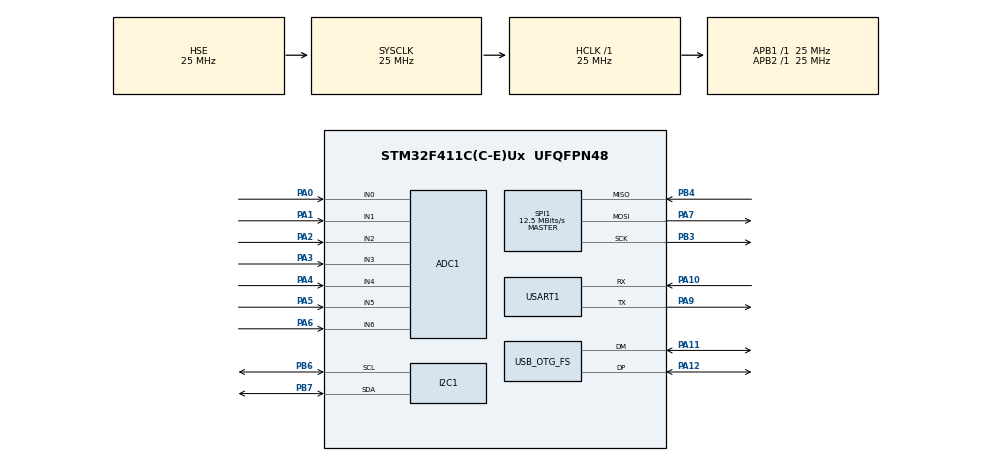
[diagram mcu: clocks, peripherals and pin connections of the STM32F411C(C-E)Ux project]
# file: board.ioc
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Mcu.Family=STM32F4
RCC.CortexFreq_Value=25000000
ADC1.Rank-0\#ChannelRegularConversion=1
PA7.Mode=Full_Duplex_Master
PA10.Mode=Asynchronous
SPI1.VirtualType=VM_MASTER
SH.ADCx_IN6.0=ADC1_IN6,IN6
SH.ADCx_IN2.0=ADC1_IN2,IN2
PH1\ -\ OSC_OUT.Mode=HSE-External-Oscillator
PA11.Mode=Host_Only
RCC.SYSCLKSource=RCC_SYSCLKSOURCE_HSE
ProjectManager.StackSize=0x400
PA0-WKUP.Signal=ADCx_IN0
PA13.Signal=SYS_JTMS-SWDIO
PA9.Mode=Asynchronous
PA12.Signal=USB_OTG_FS_DP
PH0\ -\ OSC_IN.Mode=HSE-External-Oscillator
PH0\ -\ OSC_IN.Signal=RCC_OSC_IN
ProjectManager.TargetToolchain=STM32CubeIDE
SPI1.Direction=SPI_DIRECTION_2LINES
RCC.HCLKFreq_Value=25000000
SH.ADCx_IN3.0=ADC1_IN3,IN3
RCC.APB2TimFreq_Value=25000000
PA9.Signal=USART1_TX
PB6.Signal=I2C1_SCL
PB6.Mode=I2C
SPI1.CalculateBaudRate=12.5 MBits/s
RCC.LSE_VALUE=32768
PA1.Signal=ADCx_IN1
RCC.AHBFreq_Value=25000000
PA5.Signal=ADCx_IN5
ADC1.Channel-0\#ChannelRegularConversion=ADC_CHANNEL_0
RCC.HSE_VALUE=25000000
USB_OTG_FS.phy_itface=HCD_PHY_EMBEDDED
PH1\ -\ OSC_OUT.Signal=RCC_OSC_OUT
PB3.Mode=Full_Duplex_Master
board=custom
RCC.VCOOutputFreq_Value=300000000
RCC.APB2Freq_Value=25000000
PB4.Mode=Full_Duplex_Master
SPI1.Mode=SPI_MODE_MASTER
PA14.Mode=Serial_Wire
SH.ADCx_IN4.0=ADC1_IN4,IN4
PB7.Signal=I2C1_SDA
SH.ADCx_IN0.0=ADC1_IN0,IN0
PA13.Mode=Serial_Wire
Mcu.Name=STM32F411C(C-E)Ux
ADC1.SamplingTime-0\#ChannelRegularConversion=ADC_SAMPLETIME_3CYCLES
PA2.Signal=ADCx_IN2
RCC.48MHZClocksFreq_Value=75000000
PB3.Signal=SPI1_SCK
PA4.Signal=ADCx_IN4
RCC.SYSCLKFreq_VALUE=25000000
Mcu.Package=UFQFPN48
PA6.Signal=ADCx_IN6
ADC1.master=1
PA12.Mode=Host_Only
USART1.VirtualMode=VM_ASYNC
PB7.Mode=I2C
PA11.Signal=USB_OTG_FS_DM
PA10.Signal=USART1_RX
PA14.Signal=SYS_JTCK-SWCLK
USB_OTG_FS.VirtualMode=Host_Only
ProjectManager.HeapSize=0x200
RCC.HSI_VALUE=16000000
SH.ADCx_IN5.0=ADC1_IN5,IN5
NVIC.PriorityGroup=NVIC_PRIORITYGROUP_4
ADC1.NbrOfConversionFlag=1
SH.ADCx_IN1.0=ADC1_IN1,IN1
RCC.APB1TimFreq_Value=25000000
RCC.APB1Freq_Value=25000000
PB4.Signal=SPI1_MISO
PA3.Signal=ADCx_IN3
PA7.Signal=SPI1_MOSI

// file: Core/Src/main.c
/* USER CODE BEGIN Header */
/**
  ******************************************************************************
  * @file           : main.c
  * @brief          : Main program body
  ******************************************************************************
  * @attention
  *
  * <h2><center>&copy; Copyright (c) 2021 STMicroelectronics.
  * All rights reserved.</center></h2>
  *
  * This software component is licensed by ST under BSD 3-Clause license,
  * the "License"; You may not use this file except in compliance with the
  * License. You may obtain a copy of the License at:
  *                        opensource.org/licenses/BSD-3-Clause
  *
  ******************************************************************************
  */
/* USER CODE END Header */
#include "main.h"

ADC_HandleTypeDef hadc1;

I2C_HandleTypeDef hi2c1;

SPI_HandleTypeDef hspi1;

UART_HandleTypeDef huart1;

HCD_HandleTypeDef hhcd_USB_OTG_FS;

void SystemClock_Config(void);
static void MX_GPIO_Init(void);
static void MX_ADC1_Init(void);
static void MX_I2C1_Init(void);
static void MX_SPI1_Init(void);
static void MX_USART1_UART_Init(void);
static void MX_USB_OTG_FS_HCD_Init(void);

int main(void)
{
  /* USER CODE BEGIN 1 */
	currentState = IDLE;

  /* USER CODE END 1 */

  /* MCU Configuration--------------------------------------------------------*/

  /* Reset of all peripherals, Initializes the Flash interface and the Systick. */
  HAL_Init();

  /* USER CODE BEGIN Init */
  init();

  /* USER CODE END Init */

  /* Configure the system clock */
  SystemClock_Config();

  /* Initialize all configured peripherals */
  MX_GPIO_Init();
  MX_ADC1_Init();
  MX_I2C1_Init();
  MX_SPI1_Init();
  MX_USART1_UART_Init();
  MX_USB_OTG_FS_HCD_Init();

  /* Infinite loop */
  /* USER CODE BEGIN WHILE */
  while (1)
  {
	    system_state();
	    switch (currentState)
	    {

	    case IDLE:
	        /* if a telecomand to use the payload/comms is received, go to PAYLOADS/COMMS state */
	    	if(!system_state()) currentState = CONTINGENCY;
	    	else if(payload)	currentState = PAYLOAD; /*payload becomes true if a telecommand to acquire data is received*/
	        else if(comms)	currentState = COMMS;	/*comms becomes true when we have acquired the data and we need to send it*/
	    	sensorReadings(); /*Updates the values of temperatures, voltages and currents*/
	    	/*ADCS tasks needed??*/
	    	//Add Rx mode here
	        break;

	    /*Is needed to listen periodically with the receiver or timer from IDLE state? -> COMMS part*/
	    case COMMS:	// This might refer ONLY refear to TX!!!
	        /* check if the picture or spectrogram has to be sent and send it if needed */
	    	if(!system_state()) currentState = CONTINGENCY;
	    	else if(comms) telecommand(); 	        /* function that receives orders from "COMMS" */
	    	else if(commstimer) sendtelemetry(); /* loop that sends the telemetry data to "COMMS" */
	    	comms = false;
	    	commstimer = false;
	    	currentState = IDLE;
	        break;
	        HAL_FLASH_Program(TypeProgram, Address, Data)

	    case PAYLOAD:
	    	if(!system_state()) currentState = CONTINGENCY;
	    	payloadinit();
	    	takePhoto();
	    	payload = false;
	    	currentState = IDLE;
	        break;

	    case CONTINGENCY:
	        /*Turn STM32 to Stop Mode or Standby Mode
	         *Loop to check at what batterylevel are we
	         *Out of CONTINGENCY State when batterylevel is NOMINAL
	         *CHECK IF WE CAN EXECUTE SOME TASKS OR NOT IN STANDBY MODE*/
	    	 while(checkbatteries()/=NOMINAL){
	    	 }
	    	 /*Return to Run Mode*/
	         currentState = IDLE;
	        break;
	    /*If we reach this state something has gone wrong*/
	    default:
	    	/*REBOOT THE SYSTEM*/
	        break;
	    }

		/*Start a TIMER*/

	    return 0;

    /* USER CODE END WHILE */

  }
}

void SystemClock_Config(void)
{
  RCC_OscInitTypeDef RCC_OscInitStruct = {0};
  RCC_ClkInitTypeDef RCC_ClkInitStruct = {0};

  /** Configure the main internal regulator output voltage
  */
  __HAL_RCC_PWR_CLK_ENABLE();
  __HAL_PWR_VOLTAGESCALING_CONFIG(PWR_REGULATOR_VOLTAGE_SCALE1);
  /** Initializes the RCC Oscillators according to the specified parameters
  * in the RCC_OscInitTypeDef structure.
  */
  RCC_OscInitStruct.OscillatorType = RCC_OSCILLATORTYPE_HSE;
  RCC_OscInitStruct.HSEState = RCC_HSE_ON;
  RCC_OscInitStruct.PLL.PLLState = RCC_PLL_ON;
  RCC_OscInitStruct.PLL.PLLSource = RCC_PLLSOURCE_HSE;
  RCC_OscInitStruct.PLL.PLLM = 16;
  RCC_OscInitStruct.PLL.PLLN = 192;
  RCC_OscInitStruct.PLL.PLLP = RCC_PLLP_DIV2;
  RCC_OscInitStruct.PLL.PLLQ = 4;
  if (HAL_RCC_OscConfig(&RCC_OscInitStruct) != HAL_OK)
  {
    Error_Handler();
  }
  /** Initializes the CPU, AHB and APB buses clocks
  */
  RCC_ClkInitStruct.ClockType = RCC_CLOCKTYPE_HCLK|RCC_CLOCKTYPE_SYSCLK
                              |RCC_CLOCKTYPE_PCLK1|RCC_CLOCKTYPE_PCLK2;
  RCC_ClkInitStruct.SYSCLKSource = RCC_SYSCLKSOURCE_HSE;
  RCC_ClkInitStruct.AHBCLKDivider = RCC_SYSCLK_DIV1;
  RCC_ClkInitStruct.APB1CLKDivider = RCC_HCLK_DIV1;
  RCC_ClkInitStruct.APB2CLKDivider = RCC_HCLK_DIV1;

  if (HAL_RCC_ClockConfig(&RCC_ClkInitStruct, FLASH_LATENCY_0) != HAL_OK)
  {
    Error_Handler();
  }
}

static void MX_ADC1_Init(void)
{

  ADC_ChannelConfTypeDef sConfig = {0};

  /** Configure the global features of the ADC (Clock, Resolution, Data Alignment and number of conversion)
  */
  hadc1.Instance = ADC1;
  hadc1.Init.ClockPrescaler = ADC_CLOCK_SYNC_PCLK_DIV2;
  hadc1.Init.Resolution = ADC_RESOLUTION_12B;
  hadc1.Init.ScanConvMode = DISABLE;
  hadc1.Init.ContinuousConvMode = DISABLE;
  hadc1.Init.DiscontinuousConvMode = DISABLE;
  hadc1.Init.ExternalTrigConvEdge = ADC_EXTERNALTRIGCONVEDGE_NONE;
  hadc1.Init.ExternalTrigConv = ADC_SOFTWARE_START;
  hadc1.Init.DataAlign = ADC_DATAALIGN_RIGHT;
  hadc1.Init.NbrOfConversion = 1;
  hadc1.Init.DMAContinuousRequests = DISABLE;
  hadc1.Init.EOCSelection = ADC_EOC_SINGLE_CONV;
  if (HAL_ADC_Init(&hadc1) != HAL_OK)
  {
    Error_Handler();
  }
  /** Configure for the selected ADC regular channel its corresponding rank in the sequencer and its sample time.
  */
  sConfig.Channel = ADC_CHANNEL_0;
  sConfig.Rank = 1;
  sConfig.SamplingTime = ADC_SAMPLETIME_3CYCLES;
  if (HAL_ADC_ConfigChannel(&hadc1, &sConfig) != HAL_OK)
  {
    Error_Handler();
  }

}

static void MX_I2C1_Init(void)
{

  hi2c1.Instance = I2C1;
  hi2c1.Init.ClockSpeed = 100000;
  hi2c1.Init.DutyCycle = I2C_DUTYCYCLE_2;
  hi2c1.Init.OwnAddress1 = 0;
  hi2c1.Init.AddressingMode = I2C_ADDRESSINGMODE_7BIT;
  hi2c1.Init.DualAddressMode = I2C_DUALADDRESS_DISABLE;
  hi2c1.Init.OwnAddress2 = 0;
  hi2c1.Init.GeneralCallMode = I2C_GENERALCALL_DISABLE;
  hi2c1.Init.NoStretchMode = I2C_NOSTRETCH_DISABLE;
  if (HAL_I2C_Init(&hi2c1) != HAL_OK)
  {
    Error_Handler();
  }

}

static void MX_SPI1_Init(void)
{

  /* SPI1 parameter configuration*/
  hspi1.Instance = SPI1;
  hspi1.Init.Mode = SPI_MODE_MASTER;
  hspi1.Init.Direction = SPI_DIRECTION_2LINES;
  hspi1.Init.DataSize = SPI_DATASIZE_8BIT;
  hspi1.Init.CLKPolarity = SPI_POLARITY_LOW;
  hspi1.Init.CLKPhase = SPI_PHASE_1EDGE;
  hspi1.Init.NSS = SPI_NSS_SOFT;
  hspi1.Init.BaudRatePrescaler = SPI_BAUDRATEPRESCALER_2;
  hspi1.Init.FirstBit = SPI_FIRSTBIT_MSB;
  hspi1.Init.TIMode = SPI_TIMODE_DISABLE;
  hspi1.Init.CRCCalculation = SPI_CRCCALCULATION_DISABLE;
  hspi1.Init.CRCPolynomial = 10;
  if (HAL_SPI_Init(&hspi1) != HAL_OK)
  {
    Error_Handler();
  }

}

static void MX_USART1_UART_Init(void)
{

  huart1.Instance = USART1;
  huart1.Init.BaudRate = 115200;
  huart1.Init.WordLength = UART_WORDLENGTH_8B;
  huart1.Init.StopBits = UART_STOPBITS_1;
  huart1.Init.Parity = UART_PARITY_NONE;
  huart1.Init.Mode = UART_MODE_TX_RX;
  huart1.Init.HwFlowCtl = UART_HWCONTROL_NONE;
  huart1.Init.OverSampling = UART_OVERSAMPLING_16;
  if (HAL_UART_Init(&huart1) != HAL_OK)
  {
    Error_Handler();
  }

}

static void MX_USB_OTG_FS_HCD_Init(void)
{

  hhcd_USB_OTG_FS.Instance = USB_OTG_FS;
  hhcd_USB_OTG_FS.Init.Host_channels = 8;
  hhcd_USB_OTG_FS.Init.speed = HCD_SPEED_FULL;
  hhcd_USB_OTG_FS.Init.dma_enable = DISABLE;
  hhcd_USB_OTG_FS.Init.phy_itface = HCD_PHY_EMBEDDED;
  hhcd_USB_OTG_FS.Init.Sof_enable = DISABLE;
  if (HAL_HCD_Init(&hhcd_USB_OTG_FS) != HAL_OK)
  {
    Error_Handler();
  }

}

static void MX_GPIO_Init(void)
{

  /* GPIO Ports Clock Enable */
  __HAL_RCC_GPIOH_CLK_ENABLE();
  __HAL_RCC_GPIOA_CLK_ENABLE();
  __HAL_RCC_GPIOB_CLK_ENABLE();

}

void Error_Handler(void)
{
  __disable_irq();
  while (1)
  {
  }
}

/************************ (C) COPYRIGHT STMicroelectronics *****END OF FILE****/
// cool comment
